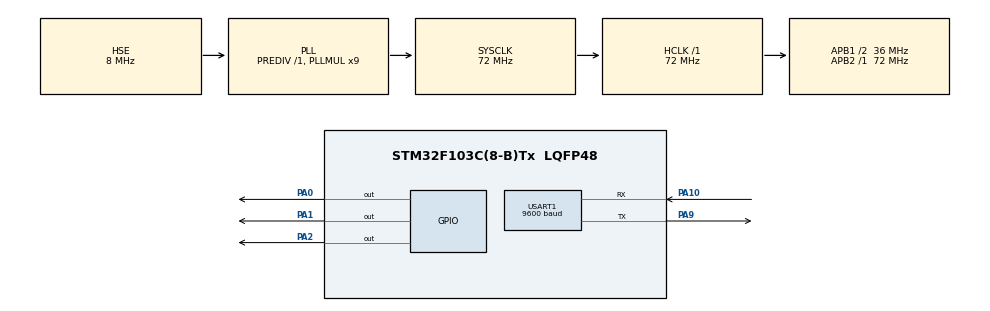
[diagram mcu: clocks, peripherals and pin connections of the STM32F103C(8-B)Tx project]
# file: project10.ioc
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FREERTOS.Queues01=Queue01,32,uint8_t,0,Dynamic,NULL,NULL
FREERTOS.Tasks01=TaskLED1,0,128,TaskLED1Funct,Default,NULL,Dynamic,NULL,NULL;TaskLED2,0,128,TaskLED2Funct,Default,NULL,Dynamic,NULL,NULL;Task3UART1,1,256,Task3UART1Funct,Default,NULL,Dynamic,NULL,NULL
Mcu.Family=STM32F1
Mcu.Name=STM32F103C(8-B)Tx
Mcu.Package=LQFP48
NVIC.PriorityGroup=NVIC_PRIORITYGROUP_4
NVIC.TIM1_UP_IRQn=true\:15\:0\:false\:false\:true\:false\:false\:true\:true
NVIC.TimeBase=TIM1_UP_IRQn
NVIC.TimeBaseIP=TIM1
NVIC.USART1_IRQn=true\:5\:0\:false\:false\:true\:true\:true\:true\:true
PA0-WKUP.PinState=GPIO_PIN_SET
PA0-WKUP.Signal=GPIO_Output
PA1.PinState=GPIO_PIN_SET
PA1.Signal=GPIO_Output
PA10.Mode=Asynchronous
PA10.Signal=USART1_RX
PA13.Mode=Serial_Wire
PA13.Signal=SYS_JTMS-SWDIO
PA14.Mode=Serial_Wire
PA14.Signal=SYS_JTCK-SWCLK
PA2.PinState=GPIO_PIN_SET
PA2.Signal=GPIO_Output
PA9.Mode=Asynchronous
PA9.Signal=USART1_TX
PD0-OSC_IN.Mode=HSE-External-Oscillator
PD0-OSC_IN.Signal=RCC_OSC_IN
PD1-OSC_OUT.Mode=HSE-External-Oscillator
PD1-OSC_OUT.Signal=RCC_OSC_OUT
ProjectManager.HeapSize=0x200
ProjectManager.StackSize=0x400
ProjectManager.TargetToolchain=MDK-ARM V5.27
RCC.AHBFreq_Value=72000000
RCC.APB1CLKDivider=RCC_HCLK_DIV2
RCC.APB1Freq_Value=36000000
RCC.APB1TimFreq_Value=72000000
RCC.APB2Freq_Value=72000000
RCC.APB2TimFreq_Value=72000000
RCC.HCLKFreq_Value=72000000
RCC.PLLMUL=RCC_PLL_MUL9
RCC.PLLSourceVirtual=RCC_PLLSOURCE_HSE
RCC.SYSCLKFreq_VALUE=72000000
RCC.SYSCLKSource=RCC_SYSCLKSOURCE_PLLCLK
RCC.USBFreq_Value=72000000
USART1.BaudRate=9600
USART1.VirtualMode=VM_ASYNC
VP_FREERTOS_VS_CMSIS_V1.Mode=CMSIS_V1
VP_SYS_VS_tim1.Mode=TIM1
board=custom

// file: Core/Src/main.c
/* USER CODE BEGIN Header */
/**
  ******************************************************************************
  * @file           : main.c
  * @brief          : Main program body
  ******************************************************************************
  * @attention
  *
  * Copyright (c) 2025 STMicroelectronics.
  * All rights reserved.
  *
  * This software is licensed under terms that can be found in the LICENSE file
  * in the root directory of this software component.
  * If no LICENSE file comes with this software, it is provided AS-IS.
  *
  ******************************************************************************
  */
/* USER CODE END Header */
#include "main.h"
#include "cmsis_os.h"

/* USER CODE BEGIN Includes */
#include "stdio.h"
#include "string.h"
/* USER CODE END Includes */

/* USER CODE BEGIN PTD */
uint8_t pcr;
/* USER CODE END PTD */

UART_HandleTypeDef huart1;

osThreadId TaskLED1Handle;
osThreadId TaskLED2Handle;
osThreadId Task3UART1Handle;
osMessageQId Queue01Handle;

void SystemClock_Config(void);
static void MX_GPIO_Init(void);
static void MX_USART1_UART_Init(void);
void TaskLED1Funct(void const * argument);
void TaskLED2Funct(void const * argument);
void Task3UART1Funct(void const * argument);

/* USER CODE BEGIN 0 */
void UART1_SendChar(char c){
	HAL_UART_Transmit(&huart1, (uint8_t*)&c, 1, HAL_MAX_DELAY);
}

struct __FILE {
    int dummy;
};
FILE __stdout;
int fputc(int ch, FILE *f){
	UART1_SendChar(ch);
	return ch;
}
/* USER CODE END 0 */

int main(void)
{

  /* MCU Configuration--------------------------------------------------------*/

  /* Reset of all peripherals, Initializes the Flash interface and the Systick. */
  HAL_Init();

  /* Configure the system clock */
  SystemClock_Config();

  /* Initialize all configured peripherals */
  MX_GPIO_Init();
  MX_USART1_UART_Init();
  /* USER CODE BEGIN 2 */
	HAL_UART_Receive_IT(&huart1, &pcr,1);
  /* USER CODE END 2 */

  /* Create the queue(s) */
  /* definition and creation of Queue01 */
  osMessageQDef(Queue01, 32, uint8_t);
  Queue01Handle = osMessageCreate(osMessageQ(Queue01), NULL);

  /* Create the thread(s) */
  /* definition and creation of TaskLED1 */
  osThreadDef(TaskLED1, TaskLED1Funct, osPriorityNormal, 0, 128); // dinh nghia cau hinh cho task
  TaskLED1Handle = osThreadCreate(osThread(TaskLED1), NULL); // tao task tu dinh nghia tren vЮ cho cАc tao chay song song.

  /* definition and creation of TaskLED2 */
  osThreadDef(TaskLED2, TaskLED2Funct, osPriorityNormal, 0, 128);
  TaskLED2Handle = osThreadCreate(osThread(TaskLED2), NULL);

  /* definition and creation of Task3UART1 */
  osThreadDef(Task3UART1, Task3UART1Funct, osPriorityAboveNormal, 0, 256);
  Task3UART1Handle = osThreadCreate(osThread(Task3UART1), NULL);

  /* Start scheduler */
  osKernelStart();

  /* We should never get here as control is now taken by the scheduler */

  /* Infinite loop */
  while (1)
  {

  }
}

void SystemClock_Config(void)
{
  RCC_OscInitTypeDef RCC_OscInitStruct = {0};
  RCC_ClkInitTypeDef RCC_ClkInitStruct = {0};

  /** Initializes the RCC Oscillators according to the specified parameters
  * in the RCC_OscInitTypeDef structure.
  */
  RCC_OscInitStruct.OscillatorType = RCC_OSCILLATORTYPE_HSE;
  RCC_OscInitStruct.HSEState = RCC_HSE_ON;
  RCC_OscInitStruct.HSEPredivValue = RCC_HSE_PREDIV_DIV1;
  RCC_OscInitStruct.HSIState = RCC_HSI_ON;
  RCC_OscInitStruct.PLL.PLLState = RCC_PLL_ON;
  RCC_OscInitStruct.PLL.PLLSource = RCC_PLLSOURCE_HSE;
  RCC_OscInitStruct.PLL.PLLMUL = RCC_PLL_MUL9;
  if (HAL_RCC_OscConfig(&RCC_OscInitStruct) != HAL_OK)
  {
    Error_Handler();
  }

  /** Initializes the CPU, AHB and APB buses clocks
  */
  RCC_ClkInitStruct.ClockType = RCC_CLOCKTYPE_HCLK|RCC_CLOCKTYPE_SYSCLK
                              |RCC_CLOCKTYPE_PCLK1|RCC_CLOCKTYPE_PCLK2;
  RCC_ClkInitStruct.SYSCLKSource = RCC_SYSCLKSOURCE_PLLCLK;
  RCC_ClkInitStruct.AHBCLKDivider = RCC_SYSCLK_DIV1;
  RCC_ClkInitStruct.APB1CLKDivider = RCC_HCLK_DIV2;
  RCC_ClkInitStruct.APB2CLKDivider = RCC_HCLK_DIV1;

  if (HAL_RCC_ClockConfig(&RCC_ClkInitStruct, FLASH_LATENCY_2) != HAL_OK)
  {
    Error_Handler();
  }
}

static void MX_USART1_UART_Init(void)
{

  huart1.Instance = USART1;
  huart1.Init.BaudRate = 9600;
  huart1.Init.WordLength = UART_WORDLENGTH_8B;
  huart1.Init.StopBits = UART_STOPBITS_1;
  huart1.Init.Parity = UART_PARITY_NONE;
  huart1.Init.Mode = UART_MODE_TX_RX;
  huart1.Init.HwFlowCtl = UART_HWCONTROL_NONE;
  huart1.Init.OverSampling = UART_OVERSAMPLING_16;
  if (HAL_UART_Init(&huart1) != HAL_OK)
  {
    Error_Handler();
  }

}

static void MX_GPIO_Init(void)
{
  GPIO_InitTypeDef GPIO_InitStruct = {0};

  /* GPIO Ports Clock Enable */
  __HAL_RCC_GPIOD_CLK_ENABLE();
  __HAL_RCC_GPIOA_CLK_ENABLE();

  /*Configure GPIO pin Output Level */
  HAL_GPIO_WritePin(GPIOA, GPIO_PIN_0|GPIO_PIN_1|GPIO_PIN_2, GPIO_PIN_SET);

  /*Configure GPIO pins : PA0 PA1 PA2 */
  GPIO_InitStruct.Pin = GPIO_PIN_0|GPIO_PIN_1|GPIO_PIN_2;
  GPIO_InitStruct.Mode = GPIO_MODE_OUTPUT_PP;
  GPIO_InitStruct.Pull = GPIO_NOPULL;
  GPIO_InitStruct.Speed = GPIO_SPEED_FREQ_LOW;
  HAL_GPIO_Init(GPIOA, &GPIO_InitStruct);

}

/* USER CODE BEGIN 4 */
/**
  * @brief This function handles USART1 global interrupt.
  */
void HAL_UART_RxCpltCallback(UART_HandleTypeDef *huart){
    if(huart->Instance == USART1){
        osMessagePut(Queue01Handle, pcr, 0); // timeout = 0 vЛ dang ? ISR
        HAL_UART_Receive_IT(&huart1, &pcr, 1);
    }
}

/* USER CODE END 4 */

void TaskLED1Funct(void const * argument)
{
  /* USER CODE BEGIN 5 */
  /* Infinite loop */
  for(;;)
  {
		GPIOA->ODR ^= GPIO_PIN_0;
    osDelay(500);
  }
  /* USER CODE END 5 */
}

void TaskLED2Funct(void const * argument)
{
  /* USER CODE BEGIN TaskLED2Funct */
  /* Infinite loop */
  for(;;)
  {
		GPIOA->ODR ^= GPIO_PIN_1;
    osDelay(1000);
  }
  /* USER CODE END TaskLED2Funct */
}

void Task3UART1Funct(void const * argument)
{
  /* USER CODE BEGIN Task3UART1Funct */
    uint8_t ch;
    char buffer[32];
    uint8_t idx = 0;

    for(;;)
    {
        osEvent evt = osMessageGet(Queue01Handle, osWaitForever); // block ch? d? li?u
        if (evt.status == osEventMessage) {
            ch = (uint8_t)evt.value.v; // l?y giА tr? t? queue

            if(ch == '\r' || ch == '\n'){
                buffer[idx] = '\0';
                idx = 0;

                if(strcmp(buffer, "ON") == 0){
                    HAL_GPIO_WritePin(GPIOA, GPIO_PIN_2, GPIO_PIN_RESET);
                }
                else if(strcmp(buffer, "OFF") == 0){
                    HAL_GPIO_WritePin(GPIOA, GPIO_PIN_2, GPIO_PIN_SET);
                }
            }
            else {
                if(idx < sizeof(buffer)-1){
                    buffer[idx++] = ch;
                }
            }
        }
    }
  /* USER CODE END Task3UART1Funct */
}

void HAL_TIM_PeriodElapsedCallback(TIM_HandleTypeDef *htim)
{
  if (htim->Instance == TIM1) {
    HAL_IncTick();
  }
}

void Error_Handler(void)
{
  __disable_irq();
  while (1)
  {
  }
}
